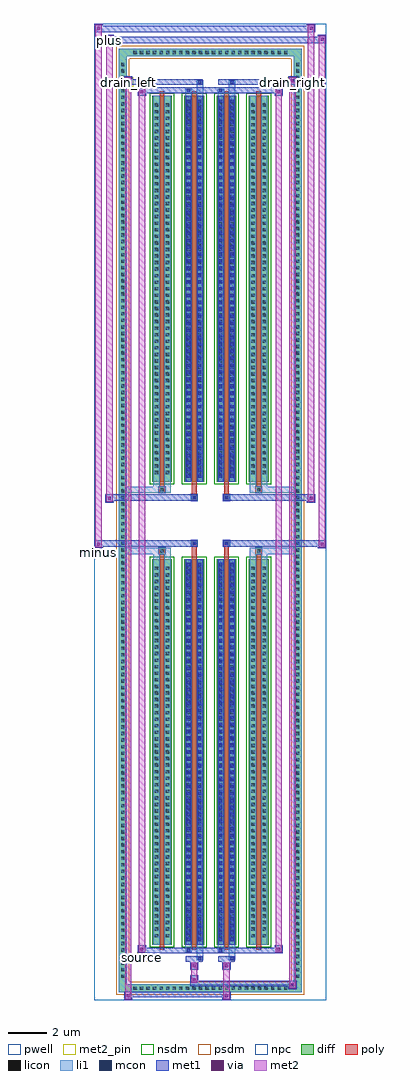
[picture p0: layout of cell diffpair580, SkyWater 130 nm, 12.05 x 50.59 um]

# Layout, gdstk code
import gdstk
lib = gdstk.Library(unit=1e-6, precision=5e-09)
def R(c, l, rs):  # rectangles x0, y0, x1, y1
    for r in rs: c.add(gdstk.rectangle(r[:2], r[2:], *l))
def A(c, l, x, y, w, h, nx, ny, dx, dy):  # array of equal rectangles
    R(c, l, [(x+i*dx, y+j*dy, x+i*dx+w, y+j*dy+h) for i in range(nx) for j in range(ny)])
def P(c, l, *ps):  # polygons
    for p in ps: c.add(gdstk.Polygon(p, *l))
pwell = (64, 44)
diff = (65, 20)
poly = (66, 20)
licon = (66, 44)
li1 = (67, 20)
mcon = (67, 44)
met1 = (68, 20)
via = (68, 44)
met2_pin = (69, 16)
met2 = (69, 20)
nsdm = (93, 44)
psdm = (94, 20)
npc = (95, 20)

diffpair580 = lib.new_cell('diffpair580')
R(diffpair580, pwell, [(-6.01,-24.86,6.01,25.73), (-3.33,-23.05,-0.01,-0.825), (0.01,-23.05,3.33,-0.825), (-3.33,0.825,-0.01,23.05), (0.01,0.825,3.33,23.05)])
A(diffpair580, diff, -4.115, -24.46, 0.41, 0.41, 24, 2, 0.34, 48.51)
A(diffpair580, diff, -4.74, -23.835, 0.41, 0.41, 1, 140, 0, 0.34)
A(diffpair580, diff, 4.33, -23.835, 0.41, 0.41, 1, 140, 0, 0.34)
A(diffpair580, diff, -3.02, -22.005, 1.03, 20, 4, 2, 1.67, 24.01)
R(diffpair580, diff, [(-4.115,-24.46,4.115,-24.05), (-4.74,-23.835,-4.33,23.835), (4.33,-23.835,4.74,23.835), (-4.115,24.05,4.115,24.46)])
P(diffpair580, diff, [(4.74,24.46),(-4.74,24.46),(-4.74,-24.05),(-4.33,-24.05),(-4.33,24.05),(4.33,24.05),(4.33,-24.05),(-4.33,-24.05),(-4.74,-24.05),(-4.74,-24.46),(4.74,-24.46)])
A(diffpair580, poly, -2.63, -22.255, 0.25, 20.5, 4, 2, 1.67, 24.01)
R(diffpair580, poly, [(-2.67,-1.755,-2.34,-1.425), (-2.67,-1.755,-2.34,-1.425), (-0.96,-1.755,-0.71,-1.355), (0.71,-1.755,0.96,-1.355), (2.34,-1.755,2.67,-1.425), (2.34,-1.755,2.67,-1.425), (-1,-1.355,-0.67,-1.025), (-1,-1.355,-0.67,-1.025), (0.67,-1.355,1,-1.025), (0.67,-1.355,1,-1.025), (-1,1.025,-0.67,1.355), (-1,1.025,-0.67,1.355), (0.67,1.025,1,1.355), (0.67,1.025,1,1.355), (-0.96,1.355,-0.71,1.755), (0.71,1.355,0.96,1.755), (-2.67,1.425,-2.34,1.755), (-2.67,1.425,-2.34,1.755), (2.34,1.425,2.67,1.755), (2.34,1.425,2.67,1.755)])
A(diffpair580, licon, -3.995, -24.34, 0.17, 0.17, 24, 2, 0.34, 48.51)
A(diffpair580, licon, -4.62, -23.715, 0.17, 0.17, 1, 140, 0, 0.34)
A(diffpair580, licon, 4.45, -23.715, 0.17, 0.17, 1, 140, 0, 0.34)
A(diffpair580, licon, -2.88, -21.61, 0.17, 0.17, 1, 57, 0, 0.34)
A(diffpair580, licon, -2.3, -21.61, 0.17, 0.17, 1, 57, 0, 0.34)
A(diffpair580, licon, -1.21, -21.61, 0.17, 0.17, 1, 57, 0, 0.34)
A(diffpair580, licon, -0.63, -21.61, 0.17, 0.17, 1, 57, 0, 0.34)
A(diffpair580, licon, 0.46, -21.61, 0.17, 0.17, 1, 57, 0, 0.34)
A(diffpair580, licon, 1.04, -21.61, 0.17, 0.17, 1, 57, 0, 0.34)
A(diffpair580, licon, 2.13, -21.61, 0.17, 0.17, 1, 57, 0, 0.34)
A(diffpair580, licon, 2.71, -21.61, 0.17, 0.17, 1, 57, 0, 0.34)
A(diffpair580, licon, -2.88, 2.4, 0.17, 0.17, 1, 57, 0, 0.34)
A(diffpair580, licon, -2.3, 2.4, 0.17, 0.17, 1, 57, 0, 0.34)
A(diffpair580, licon, -1.21, 2.4, 0.17, 0.17, 1, 57, 0, 0.34)
A(diffpair580, licon, -0.63, 2.4, 0.17, 0.17, 1, 57, 0, 0.34)
A(diffpair580, licon, 0.46, 2.4, 0.17, 0.17, 1, 57, 0, 0.34)
A(diffpair580, licon, 1.04, 2.4, 0.17, 0.17, 1, 57, 0, 0.34)
A(diffpair580, licon, 2.13, 2.4, 0.17, 0.17, 1, 57, 0, 0.34)
A(diffpair580, licon, 2.71, 2.4, 0.17, 0.17, 1, 57, 0, 0.34)
R(diffpair580, licon, [(-2.59,-1.675,-2.42,-1.505), (2.42,-1.675,2.59,-1.505), (-0.92,-1.275,-0.75,-1.105), (0.75,-1.275,0.92,-1.105), (-0.92,1.105,-0.75,1.275), (0.75,1.105,0.92,1.275), (-2.59,1.505,-2.42,1.675), (2.42,1.505,2.59,1.675)])
A(diffpair580, li1, -4.075, -24.42, 0.33, 0.33, 24, 2, 0.34, 48.51)
A(diffpair580, li1, -4.7, -23.795, 0.33, 0.33, 1, 140, 0, 0.34)
A(diffpair580, li1, 4.37, -23.795, 0.33, 0.33, 1, 140, 0, 0.34)
A(diffpair580, li1, -1.21, -21.81, 0.17, 0.17, 1, 55, 0, 0.36)
A(diffpair580, li1, -0.63, -21.81, 0.17, 0.17, 1, 55, 0, 0.36)
A(diffpair580, li1, 0.46, -21.81, 0.17, 0.17, 1, 55, 0, 0.36)
A(diffpair580, li1, 1.04, -21.81, 0.17, 0.17, 1, 55, 0, 0.36)
A(diffpair580, li1, -2.96, -21.69, 0.33, 0.33, 1, 57, 0, 0.34)
A(diffpair580, li1, -2.38, -21.69, 0.33, 0.33, 1, 57, 0, 0.34)
A(diffpair580, li1, -1.29, -21.69, 0.33, 0.33, 1, 57, 0, 0.34)
A(diffpair580, li1, -0.71, -21.69, 0.33, 0.33, 1, 57, 0, 0.34)
A(diffpair580, li1, 0.38, -21.69, 0.33, 0.33, 1, 57, 0, 0.34)
A(diffpair580, li1, 0.96, -21.69, 0.33, 0.33, 1, 57, 0, 0.34)
A(diffpair580, li1, 2.05, -21.69, 0.33, 0.33, 1, 57, 0, 0.34)
A(diffpair580, li1, 2.63, -21.69, 0.33, 0.33, 1, 57, 0, 0.34)
A(diffpair580, li1, -1.21, 2.2, 0.17, 0.17, 1, 55, 0, 0.36)
A(diffpair580, li1, -0.63, 2.2, 0.17, 0.17, 1, 55, 0, 0.36)
A(diffpair580, li1, 0.46, 2.2, 0.17, 0.17, 1, 55, 0, 0.36)
A(diffpair580, li1, 1.04, 2.2, 0.17, 0.17, 1, 55, 0, 0.36)
A(diffpair580, li1, -2.96, 2.32, 0.33, 0.33, 1, 57, 0, 0.34)
A(diffpair580, li1, -2.38, 2.32, 0.33, 0.33, 1, 57, 0, 0.34)
A(diffpair580, li1, -1.29, 2.32, 0.33, 0.33, 1, 57, 0, 0.34)
A(diffpair580, li1, -0.71, 2.32, 0.33, 0.33, 1, 57, 0, 0.34)
A(diffpair580, li1, 0.38, 2.32, 0.33, 0.33, 1, 57, 0, 0.34)
A(diffpair580, li1, 0.96, 2.32, 0.33, 0.33, 1, 57, 0, 0.34)
A(diffpair580, li1, 2.05, 2.32, 0.33, 0.33, 1, 57, 0, 0.34)
A(diffpair580, li1, 2.63, 2.32, 0.33, 0.33, 1, 57, 0, 0.34)
R(diffpair580, li1, [(-4.74,-24.46,-4.33,-24.05), (-4.74,-24.46,-4.33,-24.05), (-4.33,-24.46,4.33,-24.05), (4.33,-24.46,4.74,-24.05), (4.33,-24.46,4.74,-24.05), (-4.74,-24.05,-4.33,24.05), (4.33,-24.05,4.74,24.05), (-0.71,-22.81,-0.38,-22.005), (-0.63,-22.81,-0.46,-22.64), (0.96,-22.81,1.29,-22.005), (1.04,-22.81,1.21,-22.64), (-1.29,-22.38,-0.96,-22.005), (-1.21,-22.38,-1.04,-22.21), (0.38,-22.38,0.71,-22.005), (0.46,-22.38,0.63,-22.21), (-2.96,-22.005,-2.63,-2.005), (-2.38,-22.005,-2.05,-2.005), (-1.29,-22.005,-0.96,-2.005), (-0.71,-22.005,-0.38,-2.005), (0.38,-22.005,0.71,-2.005), (0.96,-22.005,1.29,-2.005), (2.05,-22.005,2.38,-2.005), (2.63,-22.005,2.96,-2.005), (-1.21,-21.81,-1.04,-2.2), (-0.63,-21.81,-0.46,-2.2), (0.46,-21.81,0.63,-2.2), (1.04,-21.81,1.21,-2.2), (-2.96,-2.005,-2.63,-1.425), (-2.38,-2.005,-2.05,-1.425), (2.05,-2.005,2.38,-1.425), (2.63,-2.005,2.96,-1.425), (-4.74,-1.755,-2.67,-1.425), (-2.96,-1.755,-2.67,-1.425), (-2.67,-1.755,-2.34,-1.425), (-2.34,-1.755,-2.05,-1.425), (2.05,-1.755,2.34,-1.425), (2.34,-1.755,2.67,-1.425), (2.34,-1.755,4.74,-1.425), (2.67,-1.755,2.96,-1.425), (-1,-1.355,-0.67,-1.025), (0.67,-1.355,1,-1.025), (-1,1.025,-0.67,1.355), (0.67,1.025,1,1.355), (-4.74,1.425,-2.67,1.755), (-2.96,1.425,-2.67,1.755), (-2.96,1.425,-2.63,2.005), (-2.67,1.425,-2.34,1.755), (-2.38,1.425,-2.05,2.005), (-2.34,1.425,-2.05,1.755), (2.05,1.425,2.34,1.755), (2.05,1.425,2.38,2.005), (2.34,1.425,2.67,1.755), (2.34,1.425,4.74,1.755), (2.63,1.425,2.96,2.005), (2.67,1.425,2.96,1.755), (-2.96,2.005,-2.63,22.005), (-2.38,2.005,-2.05,22.005), (-1.29,2.005,-0.96,22.005), (-0.71,2.005,-0.38,22.005), (0.38,2.005,0.71,22.005), (0.96,2.005,1.29,22.005), (2.05,2.005,2.38,22.005), (2.63,2.005,2.96,22.005), (-1.21,2.2,-1.04,21.81), (-0.63,2.2,-0.46,21.81), (0.46,2.2,0.63,21.81), (1.04,2.2,1.21,21.81), (-1.29,22.005,-0.96,22.38), (-0.71,22.005,-0.38,22.81), (0.38,22.005,0.71,22.38), (0.96,22.005,1.29,22.81), (-1.21,22.21,-1.04,22.38), (0.46,22.21,0.63,22.38), (-0.63,22.64,-0.46,22.81), (1.04,22.64,1.21,22.81), (-4.74,24.05,-4.33,24.46), (-4.74,24.05,-4.33,24.46), (-4.33,24.05,4.33,24.46), (4.33,24.05,4.74,24.46), (4.33,24.05,4.74,24.46)])
A(diffpair580, mcon, -1.21, -21.81, 0.17, 0.17, 1, 55, 0, 0.36)
A(diffpair580, mcon, -0.63, -21.81, 0.17, 0.17, 1, 55, 0, 0.36)
A(diffpair580, mcon, 0.46, -21.81, 0.17, 0.17, 1, 55, 0, 0.36)
A(diffpair580, mcon, 1.04, -21.81, 0.17, 0.17, 1, 55, 0, 0.36)
A(diffpair580, mcon, -1.21, 2.2, 0.17, 0.17, 1, 55, 0, 0.36)
A(diffpair580, mcon, -0.63, 2.2, 0.17, 0.17, 1, 55, 0, 0.36)
A(diffpair580, mcon, 0.46, 2.2, 0.17, 0.17, 1, 55, 0, 0.36)
A(diffpair580, mcon, 1.04, 2.2, 0.17, 0.17, 1, 55, 0, 0.36)
R(diffpair580, mcon, [(-0.63,-22.81,-0.46,-22.64), (1.04,-22.81,1.21,-22.64), (-1.21,-22.38,-1.04,-22.21), (0.46,-22.38,0.63,-22.21), (-0.92,-1.275,-0.75,-1.105), (0.75,-1.275,0.92,-1.105), (-0.92,1.105,-0.75,1.275), (0.75,1.105,0.92,1.275), (-1.21,22.21,-1.04,22.38), (0.46,22.21,0.63,22.38), (-0.63,22.64,-0.46,22.81), (1.04,22.64,1.21,22.81)])
A(diffpair580, met1, -1.27, -21.87, 0.29, 0.29, 1, 55, 0, 0.36)
A(diffpair580, met1, -0.69, -21.87, 0.29, 0.29, 1, 55, 0, 0.36)
A(diffpair580, met1, 0.4, -21.87, 0.29, 0.29, 1, 55, 0, 0.36)
A(diffpair580, met1, 0.98, -21.87, 0.29, 0.29, 1, 55, 0, 0.36)
A(diffpair580, met1, -1.27, 2.14, 0.29, 0.29, 1, 55, 0, 0.36)
A(diffpair580, met1, -0.69, 2.14, 0.29, 0.29, 1, 55, 0, 0.36)
A(diffpair580, met1, 0.4, 2.14, 0.29, 0.29, 1, 55, 0, 0.36)
A(diffpair580, met1, 0.98, 2.14, 0.29, 0.29, 1, 55, 0, 0.36)
R(diffpair580, met1, [(-4.47,-24.86,-4.04,-24.43), (0.62,-24.86,1.05,-24.43), (-4.47,-24.72,1.05,-24.43), (4.04,-24.29,4.47,-23.86), (-1.05,-24.15,4.47,-23.86), (-1.05,-24.01,-0.62,-23.58), (-1.05,-23.3,-0.62,-22.87), (0.62,-23.3,1.05,-22.87), (-1.27,-22.87,-0.4,-22.58), (-0.69,-22.87,-0.4,-22.58), (0.4,-22.87,1.27,-22.58), (0.98,-22.87,1.27,-22.58), (-3.76,-22.44,-3.33,-22.01), (-3.76,-22.44,-1.27,-22.15), (-1.27,-22.44,-0.98,-22.15), (-1.27,-22.44,-0.4,-22.15), (-0.4,-22.44,0.4,-22.15), (0.4,-22.44,0.69,-22.15), (0.4,-22.44,1.27,-22.15), (1.27,-22.44,3.76,-22.15), (3.33,-22.44,3.76,-22.01), (-1.27,-22.005,-0.98,-2.005), (-0.69,-22.005,-0.4,-2.005), (0.4,-22.005,0.69,-2.005), (0.98,-22.005,1.27,-2.005), (-6.01,-1.455,-5.58,-1.025), (5.58,-1.455,6.01,-1.025), (-6.01,-1.355,-0.67,-1.025), (-1,-1.355,-0.67,-1.025), (0.67,-1.355,1,-1.025), (0.67,-1.355,6.01,-1.025), (-0.98,-1.335,-0.69,-1.045), (0.69,-1.335,0.98,-1.045), (-5.44,0.925,-5.01,1.355), (5.01,0.925,5.44,1.355), (-5.44,1.025,-1,1.355), (-1,1.025,-0.67,1.355), (0.67,1.025,1,1.355), (1,1.025,5.44,1.355), (-0.98,1.045,-0.69,1.335), (0.69,1.045,0.98,1.335), (-1.27,2.005,-0.98,22.005), (-0.69,2.005,-0.4,22.005), (0.4,2.005,0.69,22.005), (0.98,2.005,1.27,22.005), (-3.76,22.01,-3.33,22.44), (3.33,22.01,3.76,22.44), (-3.76,22.15,-1.27,22.44), (-1.27,22.15,-0.98,22.44), (-1.27,22.15,-0.4,22.44), (-0.4,22.15,0.4,22.44), (0.4,22.15,0.69,22.44), (0.4,22.15,1.27,22.44), (1.27,22.15,3.76,22.44), (-4.47,22.58,-4.04,23.01), (-4.47,22.58,-1.27,22.87), (-1.27,22.58,-0.4,22.87), (-0.69,22.58,-0.4,22.87), (0.4,22.58,1.27,22.87), (0.98,22.58,1.27,22.87), (1.27,22.58,4.47,22.87), (4.04,22.58,4.47,23.01), (-5.44,24.73,-5.01,25.16), (-5.44,24.73,-3.33,25.06), (-3.33,24.73,3.33,25.06), (3.33,24.73,6.01,25.06), (5.58,24.73,6.01,25.16), (-6.01,25.3,-5.58,25.73), (-6.01,25.3,-3.33,25.63), (-3.33,25.3,3.33,25.63), (3.33,25.3,5.44,25.63), (5.01,25.3,5.44,25.73)])
R(diffpair580, via, [(-4.33,-24.72,-4.18,-24.57), (0.76,-24.72,0.91,-24.57), (4.18,-24.15,4.33,-24), (-0.91,-23.87,-0.76,-23.72), (-0.91,-23.16,-0.76,-23.01), (0.76,-23.16,0.91,-23.01), (-3.62,-22.3,-3.47,-22.15), (3.47,-22.3,3.62,-22.15), (-5.87,-1.315,-5.72,-1.165), (5.72,-1.315,5.87,-1.165), (-5.3,1.065,-5.15,1.215), (5.15,1.065,5.3,1.215), (-3.62,22.15,-3.47,22.3), (3.47,22.15,3.62,22.3), (-4.33,22.72,-4.18,22.87), (4.18,22.72,4.33,22.87), (-5.3,24.87,-5.15,25.02), (5.72,24.87,5.87,25.02), (-5.87,25.44,-5.72,25.59), (5.15,25.44,5.3,25.59)])
R(diffpair580, met2_pin, [(-3.795,-22.89,-3.295,-22.39), (-6.045,-1.905,-5.545,-1.405), (-4.505,22.46,-4.005,22.96), (4.005,22.46,4.505,22.96), (-5.475,24.61,-4.975,25.11)])
R(diffpair580, met2, [(-4.42,-24.81,-4.09,-24.48), (-4.42,-24.81,-4.09,22.96), (0.67,-24.81,1,-24.48), (0.67,-24.48,1,-23.25), (4.09,-24.24,4.42,-23.91), (4.09,-24.24,4.42,22.96), (-1,-23.96,-0.67,-23.63), (-1,-23.63,-0.67,-23.25), (-1,-23.25,-0.67,-22.92), (0.67,-23.25,1,-22.92), (-3.71,-22.39,-3.38,-22.06), (-3.71,-22.39,-3.38,22.39), (3.38,-22.39,3.71,-22.06), (3.38,-22.39,3.71,22.39), (-5.96,-1.405,-5.63,-1.075), (-5.96,-1.405,-5.63,25.68), (5.63,-1.405,5.96,-1.075), (5.63,-1.405,5.96,25.11), (-5.39,0.975,-5.06,1.305), (-5.39,0.975,-5.06,25.11), (5.06,0.975,5.39,1.305), (5.06,0.975,5.39,25.68), (-3.71,22.06,-3.38,22.39), (3.38,22.06,3.71,22.39), (-4.42,22.63,-4.09,22.96), (4.09,22.63,4.42,22.96), (-5.39,24.78,-5.06,25.11), (5.63,24.78,5.96,25.11), (-5.96,25.35,-5.63,25.68), (5.06,25.35,5.39,25.68)])
P(diffpair580, met2, [(5.96,-1.405),(5.96,-1.405),(5.96,-1.075),(5.96,-1.075)],
  [(5.96,24.78),(5.96,24.78),(5.96,25.11),(5.96,25.11)],
  [(-5.63,-1.405),(-5.63,-1.405),(-5.63,-1.075),(-5.63,-1.075)],
  [(-5.63,25.35),(-5.63,25.35),(-5.63,25.68),(-5.63,25.68)],
  [(5.39,0.975),(5.39,0.975),(5.39,1.305),(5.39,1.305)],
  [(5.39,25.35),(5.39,25.35),(5.39,25.68),(5.39,25.68)],
  [(-5.06,0.975),(-5.06,0.975),(-5.06,1.305),(-5.06,1.305)],
  [(-5.06,24.78),(-5.06,24.78),(-5.06,25.11),(-5.06,25.11)],
  [(-4.09,-24.81),(-4.09,-24.81),(-4.09,-24.48),(-4.09,-24.48)],
  [(-4.09,22.63),(-4.09,22.63),(-4.09,22.96),(-4.09,22.96)],
  [(4.42,-24.24),(4.42,-24.24),(4.42,-23.91),(4.42,-23.91)],
  [(4.42,22.63),(4.42,22.63),(4.42,22.96),(4.42,22.96)],
  [(-3.38,-22.39),(-3.38,-22.39),(-3.38,-22.06),(-3.38,-22.06)],
  [(-3.38,22.06),(-3.38,22.06),(-3.38,22.39),(-3.38,22.39)],
  [(3.71,-22.39),(3.71,-22.39),(3.71,-22.06),(3.71,-22.06)],
  [(3.71,22.06),(3.71,22.06),(3.71,22.39),(3.71,22.39)])
A(diffpair580, nsdm, -3.15, -22.135, 1.29, 20.26, 4, 2, 1.67, 24.01)
P(diffpair580, psdm, [(4.87,24.59),(-4.87,24.59),(-4.87,-23.92),(-4.2,-23.92),(-4.2,23.92),(4.2,23.92),(4.2,-23.92),(-4.2,-23.92),(-4.87,-23.92),(-4.87,-24.59),(4.87,-24.59)])
R(diffpair580, npc, [(-2.69,-1.775,-2.32,-1.405), (2.32,-1.775,2.69,-1.405), (-1.02,-1.375,-0.65,-1.005), (0.65,-1.375,1.02,-1.005), (-1.02,1.005,-0.65,1.375), (0.65,1.005,1.02,1.375), (-2.69,1.405,-2.32,1.775), (2.32,1.405,2.69,1.775)])
diffpair580.add(gdstk.Label('minus', (-5.795,-1.655), layer=69, texttype=5))
diffpair580.add(gdstk.Label('drain_right', (4.255,22.71), layer=69, texttype=5))
diffpair580.add(gdstk.Label('drain_left', (-4.255,22.71), layer=69, texttype=5))
diffpair580.add(gdstk.Label('source', (-3.545,-22.64), layer=69, texttype=5))
diffpair580.add(gdstk.Label('plus', (-5.225,24.86), layer=69, texttype=5))

lib.write_gds('diffpair580.gds')
